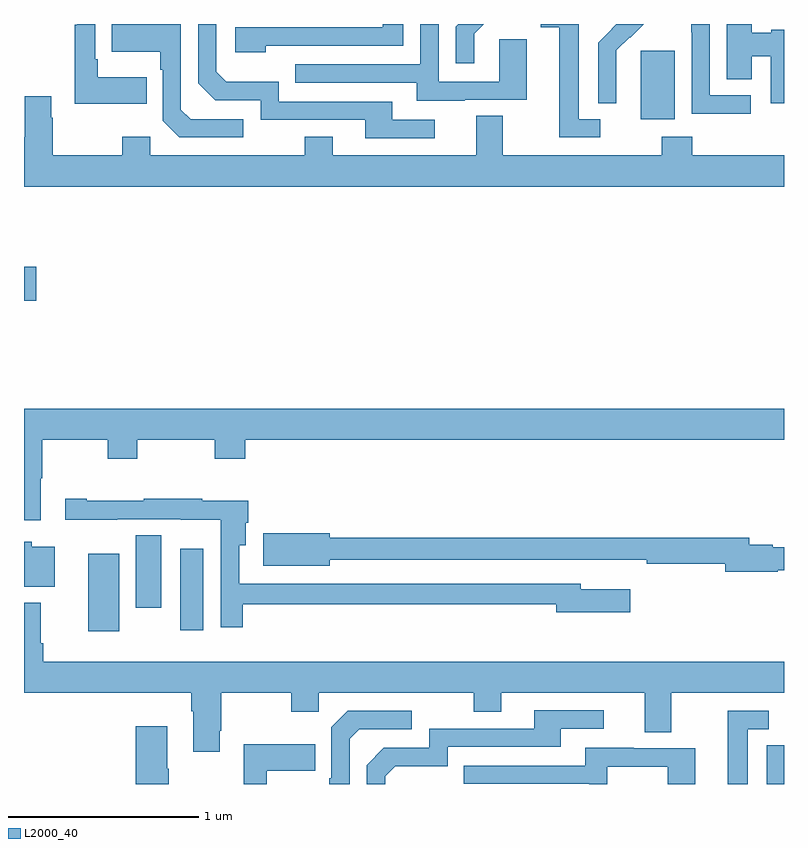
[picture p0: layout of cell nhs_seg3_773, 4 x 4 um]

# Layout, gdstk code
import gdstk
lib = gdstk.Library(unit=1e-6, precision=1e-09)
def R(c, l, rs):  # rectangles x0, y0, x1, y1
    for r in rs: c.add(gdstk.rectangle(r[:2], r[2:], *l))
def P(c, l, *ps):  # polygons
    for p in ps: c.add(gdstk.Polygon(p, *l))
L2000_40 = (2000, 40)

nhs_seg3_773 = lib.new_cell('nhs_seg3_773')
R(nhs_seg3_773, L2000_40, [(152.91,736.4,153,736.604), (149.339,737.205,149.5,737.611), (149.822,737.208,149.944,737.638), (149.588,737.328,149.722,737.708), (149,738.944,149.065,739.122), (152.246,739.898,152.425,740.259)])
P(nhs_seg3_773, L2000_40, [(149.645,740.119),(149.389,740.119),(149.389,740.215),(149.376,740.215),(149.376,740.4),(149.279,740.4),(149.279,740.395),(149.268,740.395),(149.268,739.979),(149.645,739.979)],
  [(151.321,740.001),(151.645,740.001),(151.645,740.321),(151.5,740.321),(151.5,740.097),(151.182,740.097),(151.182,740.4),(151.086,740.4),(151.086,740.187),(150.427,740.187),(150.427,740.091),(151.067,740.091),(151.067,739.997),(151.321,739.997)],
  [(152.032,739.899),(151.921,739.899),(151.921,740.4),(151.721,740.4),(151.721,740.384),(151.817,740.384),(151.817,739.803),(152.032,739.803)],
  [(153,740.371),(152.934,740.371),(152.934,740.353),(152.83,740.353),(152.83,740.4),(152.699,740.4),(152.699,740.11),(152.83,740.11),(152.83,740.231),(152.93,740.231),(152.93,739.983),(153,739.983)],
  [(151.369,740.349),(151.42,740.4),(151.286,740.4),(151.272,740.386),(151.272,740.193),(151.369,740.193)],
  [(151.162,739.896),(150.937,739.896),(150.937,739.992),(150.342,739.992),(150.342,740.095),(150.065,740.095),(150.012,740.148),(150.012,740.4),(149.916,740.4),(149.916,740.088),(150.006,739.998),(150.246,739.998),(150.246,739.896),(150.797,739.896),(150.797,739.8),(151.162,739.8)],
  [(150.154,739.899),(149.877,739.899),(149.826,739.95),(149.826,740.4),(149.461,740.4),(149.461,740.255),(149.718,740.255),(149.718,740.159),(149.73,740.159),(149.73,739.89),(149.817,739.803),(150.154,739.803)],
  [(152.824,740.025),(152.61,740.025),(152.61,740.4),(152.512,740.4),(152.512,740.356),(152.514,740.356),(152.514,739.927),(152.824,739.927)],
  [(152.118,740.138),(152.117,740.138),(152.117,740.261),(152.187,740.331),(152.19,740.328),(152.262,740.4),(152.118,740.4),(152.094,740.376),(152.095,740.375),(152.022,740.302),(152.022,739.984),(152.118,739.984)],
  [(150.272,740.286),(150.996,740.286),(150.996,740.4),(150.887,740.4),(150.887,740.382),(150.111,740.382),(150.111,740.252),(150.272,740.252)],
  [(153,739.708),(152.516,739.708),(152.516,739.807),(152.356,739.807),(152.356,739.708),(151.519,739.708),(151.519,739.916),(151.379,739.916),(151.379,739.708),(150.625,739.708),(150.625,739.807),(150.478,739.807),(150.478,739.708),(149.664,739.708),(149.664,739.807),(149.518,739.807),(149.518,739.708),(149.151,739.708),(149.151,739.907),(149.143,739.907),(149.143,740.02),(149.003,740.02),(149.003,739.804),(149,739.804),(149,739.544),(153,739.544)],
  [(149.089,738.008),(149.097,738.008),(149.097,738.212),(149.44,738.212),(149.44,738.113),(149.595,738.113),(149.595,738.212),(150.004,738.212),(150.004,738.113),(150.164,738.113),(150.164,738.212),(153,738.212),(153,738.376),(149,738.376),(149,737.787),(149.089,737.787)],
  [(150.152,737.346),(151.802,737.346),(151.802,737.303),(152.191,737.303),(152.191,737.425),(151.93,737.425),(151.93,737.454),(150.132,737.454),(150.132,737.657),(150.166,737.657),(150.166,737.774),(150.179,737.774),(150.179,737.892),(149.939,737.892),(149.939,737.902),(149.629,737.902),(149.629,737.892),(149.329,737.892),(149.329,737.902),(149.217,737.902),(149.217,737.792),(149.492,737.792),(149.492,737.793),(149.826,737.793),(149.826,737.792),(150.036,737.792),(150.036,737.226),(150.152,737.226)],
  [(152.966,737.525),(153,737.525),(153,737.647),(152.94,737.647),(152.94,737.66),(152.818,737.66),(152.818,737.696),(150.61,737.696),(150.61,737.72),(150.258,737.72),(150.258,737.549),(150.61,737.549),(150.61,737.58),(152.026,737.58),(152.026,737.579),(152.278,737.579),(152.278,737.56),(152.69,737.56),(152.69,737.518),(152.966,737.518)],
  [(149.161,737.65),(149.04,737.65),(149.04,737.676),(149,737.676),(149,737.438),(149.161,737.438)],
  [(149.102,737.14),(149.089,737.14),(149.089,737.353),(149,737.353),(149,736.88),(149.879,736.88),(149.879,736.784),(149.891,736.784),(149.891,736.569),(150.031,736.569),(150.031,736.681),(150.039,736.681),(150.039,736.88),(150.406,736.88),(150.406,736.781),(150.552,736.781),(150.552,736.88),(151.366,736.88),(151.366,736.781),(151.513,736.781),(151.513,736.88),(152.267,736.88),(152.267,736.672),(152.407,736.672),(152.407,736.88),(153,736.88),(153,737.044),(149.102,737.044)],
  [(150.9,736.44),(150.953,736.493),(151.23,736.493),(151.23,736.596),(151.825,736.596),(151.825,736.692),(152.05,736.692),(152.05,736.788),(151.685,736.788),(151.685,736.692),(151.134,736.692),(151.134,736.59),(150.894,736.59),(150.804,736.5),(150.804,736.4),(150.9,736.4)],
  [(152.809,736.689),(152.92,736.689),(152.92,736.785),(152.705,736.785),(152.705,736.4),(152.809,736.4)],
  [(150.714,736.638),(150.765,736.689),(151.042,736.689),(151.042,736.785),(150.705,736.785),(150.618,736.698),(150.618,736.429),(150.606,736.429),(150.606,736.4),(150.714,736.4)],
  [(149.763,736.481),(149.755,736.481),(149.755,736.705),(149.588,736.705),(149.588,736.4),(149.763,736.4)],
  [(150.277,736.469),(150.533,736.469),(150.533,736.609),(150.156,736.609),(150.156,736.4),(150.277,736.4)],
  [(152.07,736.491),(152.388,736.491),(152.388,736.4),(152.533,736.4),(152.533,736.587),(152.209,736.587),(152.209,736.591),(151.955,736.591),(151.955,736.497),(151.315,736.497),(151.315,736.401),(151.974,736.401),(151.974,736.4),(152.07,736.4)])

lib.write_gds('nhs_seg3_773.gds')
